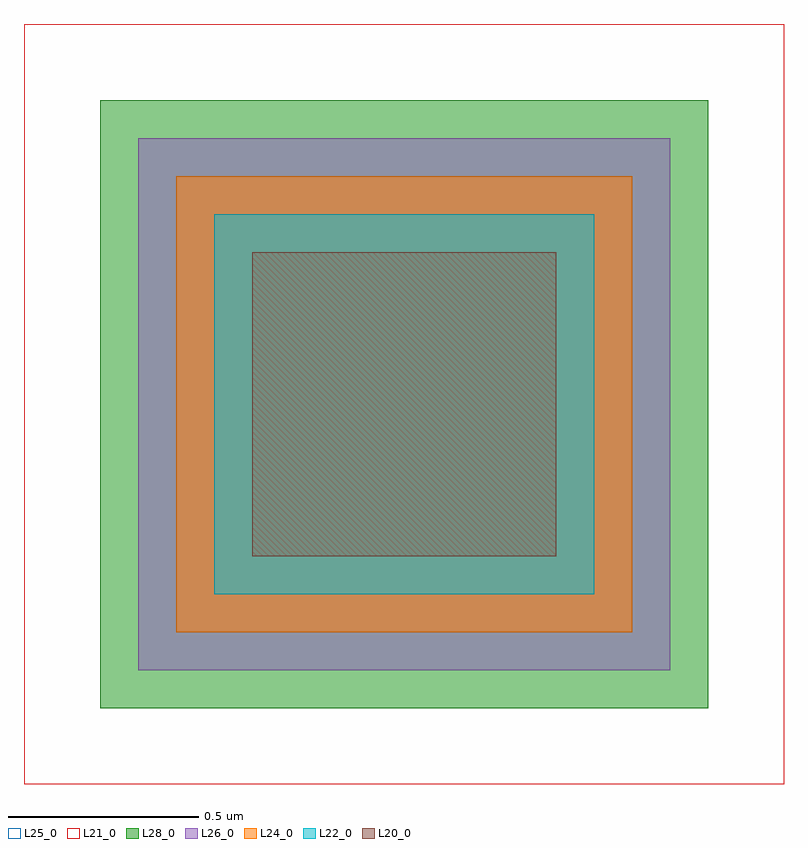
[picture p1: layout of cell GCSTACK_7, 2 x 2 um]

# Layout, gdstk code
import gdstk
lib = gdstk.Library(unit=1e-6, precision=1e-09)
def R(c, l, rs):  # rectangles x0, y0, x1, y1
    for r in rs: c.add(gdstk.rectangle(r[:2], r[2:], *l))
L20_0 = (20, 0)
L21_0 = (21, 0)
L22_0 = (22, 0)
L24_0 = (24, 0)
L25_0 = (25, 0)
L26_0 = (26, 0)
L28_0 = (28, 0)

gcstack_7 = lib.new_cell('GCSTACK_7')
R(gcstack_7, L20_0, [(-0.4,-0.4,0.4,0.4)])
R(gcstack_7, L21_0, [(-1,-1,1,1)])
R(gcstack_7, L22_0, [(-0.5,-0.5,0.5,0.5)])
R(gcstack_7, L24_0, [(-0.6,-0.6,0.6,0.6)])
R(gcstack_7, L25_0, [(-1,-1,1,1)])
R(gcstack_7, L26_0, [(-0.7,-0.7,0.7,0.7)])
R(gcstack_7, L28_0, [(-0.8,-0.8,0.8,0.8)])

lib.write_gds('GCSTACK_7.gds')
